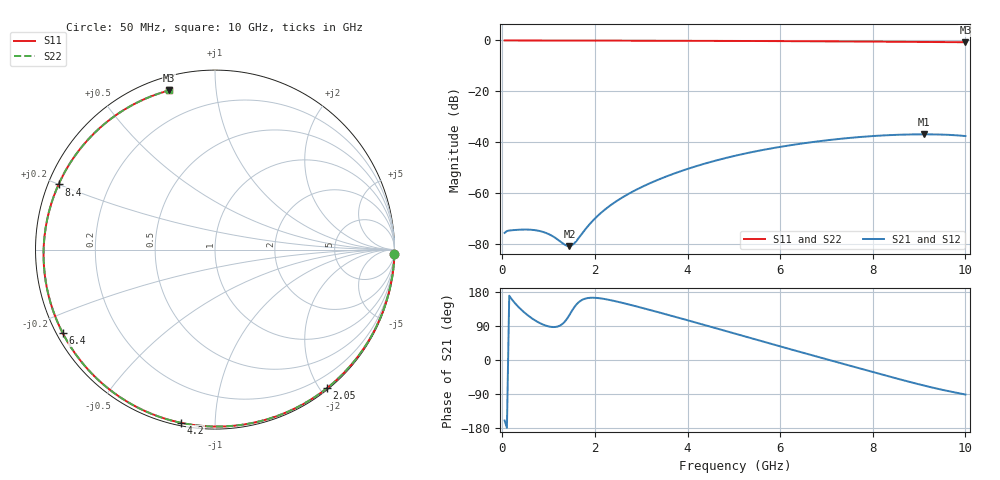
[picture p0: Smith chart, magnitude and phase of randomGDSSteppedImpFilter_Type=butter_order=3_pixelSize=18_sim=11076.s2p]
! freq	dB(S11)	phase(S11)	dB(S12)	phase(S12)
!  dB(S21)	phase(S21)	dB(S22)	phase(S22)
!S-par simulation data
#  GHz  S  DB  R 50
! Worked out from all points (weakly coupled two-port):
!   200 points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, 50 MHz to 10 GHz, reference 50 ohm
!   highest |S21| = -36.89 dB at 9.1 GHz (marker M1); lowest = -80.8 dB at 1.45 GHz (marker M2)
!   lowest |S11| = -0.7 dB at 10 GHz (marker M3), VSWR 24.89, Z = 3.15 + j37.6 ohm
!   |S11| at or under -10 dB: nowhere
!   |S22| runs from -0.7 to 0.0 dB; largest |S21 - S12| = 0
!   S11 on the Smith chart (normalised r, x): 50 MHz: 0, -90; 2.05 GHz: 0.02, -2.10; 4.2 GHz: 0.01, -0.82; 6.4 GHz: 0.02, -0.26; 8.4 GHz: 0.03, +0.20; 10 GHz: 0.06, +0.75
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0.05  -0.00 -1.3  -75.63 -159.7  -75.63 -159.7  -0.00 -1.3
0.25  -0.01 -6.4  -74.51 153.3  -74.51 153.3  -0.00 -6.4
0.75  -0.02 -19.0  -74.67 101.4  -74.67 101.4  -0.02 -19.0
1.05  -0.03 -26.5  -76.53 87.4  -76.53 87.4  -0.03 -26.5
1.3  -0.04 -32.7  -79.65 95.2  -79.65 95.2  -0.04 -32.7
1.45  -0.05 -36.4  -80.84 118.8  -80.84 118.8  -0.05 -36.4
1.55  -0.05 -38.8  -79.83 138.4  -79.83 138.4  -0.05 -38.8
1.75  -0.06 -43.7  -75.23 160.2  -75.23 160.2  -0.06 -43.7
2.05  -0.07 -51.0  -69.09 163.7  -69.09 163.7  -0.07 -51.0
2.6  -0.08 -64.1  -61.61 150.6  -61.61 150.6  -0.08 -64.1
3.4  -0.11 -82.8  -54.47 125.1  -54.47 125.1  -0.11 -82.8
4.2  -0.14 -101.1  -49.33 98.1  -49.33 98.1  -0.14 -101.1
5.05  -0.19 -120.3  -45.21 68.7  -45.21 68.7  -0.19 -120.3
5.7  -0.23 -135.0  -42.77 46.2  -42.77 46.2  -0.23 -135.0
6.4  -0.29 -151.2  -40.68 22.3  -40.68 22.3  -0.29 -151.2
6.7  -0.31 -158.4  -39.93 12.2  -39.93 12.2  -0.31 -158.4
7.55  -0.40 -179.5  -38.21 -16.5  -38.21 -16.5  -0.40 -179.5
8.35  -0.49 158.8  -37.21 -43.3  -37.21 -43.3  -0.49 158.8
8.4  -0.50 157.4  -37.17 -45.0  -37.17 -45.0  -0.50 157.4
9.1  -0.59 136.3  -36.89 -67.3  -36.89 -67.3  -0.59 136.3
9.6  -0.65 119.9  -37.06 -81.3  -37.06 -81.3  -0.65 119.9
10  -0.70 106.0  -37.57 -91.1  -37.57 -91.1  -0.70 106.0
